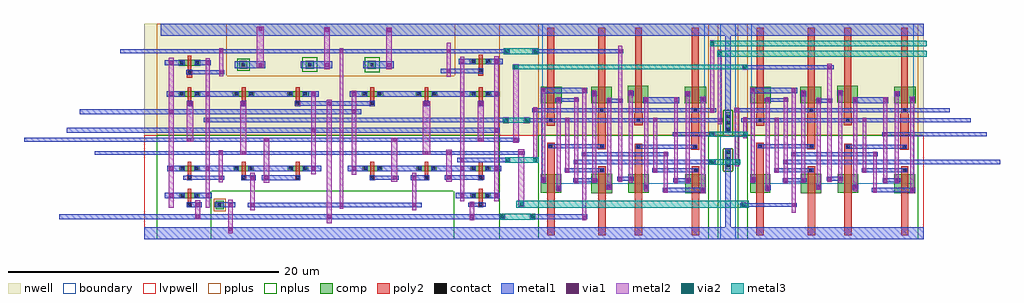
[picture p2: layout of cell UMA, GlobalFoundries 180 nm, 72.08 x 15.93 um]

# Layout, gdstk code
from math import pi, radians
import gdstk
lib = gdstk.Library(unit=1e-6, precision=1e-09)
def R(c, l, rs):  # rectangles x0, y0, x1, y1
    for r in rs: c.add(gdstk.rectangle(r[:2], r[2:], *l))
def A(c, l, x, y, w, h, nx, ny, dx, dy):  # array of equal rectangles
    R(c, l, [(x+i*dx, y+j*dy, x+i*dx+w, y+j*dy+h) for i in range(nx) for j in range(ny)])
def P(c, l, *ps):  # polygons
    for p in ps: c.add(gdstk.Polygon(p, *l))
boundary = (0, 0)
nwell = (21, 0)
comp = (22, 0)
poly2 = (30, 0)
pplus = (31, 0)
nplus = (32, 0)
contact = (33, 0)
metal1 = (34, 0)
via1 = (35, 0)
metal2 = (36, 0)
via2 = (38, 0)
metal3 = (42, 0)
lvpwell = (204, 0)

nfet_1 = lib.new_cell('nfet$1')
R(nfet_1, comp, [(-0.42,0,0,0.42), (0,0,0.66,0.42), (0.66,0,1.08,0.42)])
R(nfet_1, poly2, [(0.19,-0.3,0.47,0.72), (0.15,0.72,0.51,1.08)])
R(nfet_1, nplus, [(-0.59,-0.24,1.25,0.66)])
R(nfet_1, contact, [(-0.32,0.1,-0.1,0.32), (0.76,0.1,0.98,0.32), (0.22,0.79,0.44,1.01)])
R(nfet_1, metal1, [(-0.4,0.02,-0.02,0.4), (0.68,0.02,1.06,0.4), (0.14,0.71,0.52,1.09)])

pfet = lib.new_cell('pfet')
R(pfet, nwell, [(-0.9,-0.44,1.56,0.86)])
R(pfet, comp, [(-0.46,0,0,0.42), (0,0,0.66,0.42), (0.66,0,1.12,0.42)])
R(pfet, poly2, [(0.19,-0.3,0.47,0.72), (0.14,0.72,0.52,1.1)])
R(pfet, pplus, [(-0.63,-0.24,1.29,0.66)])
R(pfet, contact, [(-0.34,0.1,-0.12,0.32), (0.78,0.1,1,0.32), (0.22,0.8,0.44,1.02)])
R(pfet, metal1, [(-0.42,0.02,-0.04,0.4), (0.7,0.02,1.08,0.4), (0.14,0.72,0.52,1.1)])

uma = lib.new_cell('UMA')
R(uma, boundary, [(13.87,-2.005,14.99,13.92), (0.7,2.115,12.7,13.92), (16.16,2.115,28.16,13.92)])
R(uma, nwell, [(-28.675,5.695,-2.02,13.92), (-2.02,5.695,-0.04,13.92), (-0.04,5.695,13.44,13.92), (13.44,5.695,15.42,13.92), (15.42,5.695,28.9,13.92)])
R(uma, comp, [(-23.405,0.225,-22.805,0.825), (-23.405,0.225,-22.805,0.825), (4.325,1.41,5.865,2.825), (19.785,1.41,21.325,2.825), (11.26,1.415,12.795,2.8), (26.72,1.415,28.255,2.8), (0.605,1.435,2.1,2.805), (16.065,1.435,17.56,2.805), (7.075,1.44,8.57,2.805), (22.535,1.44,24.03,2.805), (-4.56,3.04,-4.24,3.42), (-3.45,3.04,-3.12,3.42), (14.25,3.17,14.61,4.6), (14.25,5.945,14.61,7.375), (11.23,8.03,12.82,9.265), (26.69,8.03,28.28,9.265), (0.605,8.035,2.135,9.27), (16.065,8.035,17.595,9.27), (4.32,8.045,5.85,9.28), (19.78,8.045,21.31,9.28), (7.04,8.085,8.555,9.32), (22.5,8.085,24.015,9.32), (-16.775,10.585,-16.175,11.185), (-21.67,10.59,-21.07,11.19), (-12.175,10.59,-11.575,11.19)])
R(uma, poly2, [(1.07,-1.69,1.62,5.13), (4.85,-1.69,5.4,3.395), (7.55,-1.69,8.1,5.045), (11.745,-1.69,12.295,3.39), (16.53,-1.69,17.08,5.13), (20.31,-1.69,20.86,3.395), (23.01,-1.69,23.56,5.045), (27.205,-1.69,27.755,3.39), (-25.53,9.945,-25.15,10.14), (-4.03,10.085,-3.65,10.24)])
P(uma, poly2, [(27.16,4.6),(27.16,7.265),(27.21,7.265),(27.21,13.625),(27.71,13.625),(27.71,7.265),(27.76,7.265),(27.76,4.6)],
  [(22.975,6.41),(22.975,7.315),(23.025,7.315),(23.025,13.625),(23.525,13.625),(23.525,7.315),(23.575,7.315),(23.575,6.41)],
  [(20.27,4.635),(20.27,7.275),(20.32,7.275),(20.32,13.625),(20.82,13.625),(20.82,7.275),(20.87,7.275),(20.87,4.635)],
  [(16.505,6.385),(16.505,7.26),(16.555,7.26),(16.555,13.625),(17.055,13.625),(17.055,7.26),(17.105,7.26),(17.105,6.385)],
  [(11.7,4.6),(11.7,7.265),(11.75,7.265),(11.75,13.625),(12.25,13.625),(12.25,7.265),(12.3,7.265),(12.3,4.6)],
  [(7.515,6.41),(7.515,7.315),(7.565,7.315),(7.565,13.625),(8.065,13.625),(8.065,7.315),(8.115,7.315),(8.115,6.41)],
  [(4.81,4.635),(4.81,7.275),(4.86,7.275),(4.86,13.625),(5.36,13.625),(5.36,7.275),(5.41,7.275),(5.41,4.635)],
  [(1.045,6.385),(1.045,7.26),(1.095,7.26),(1.095,13.625),(1.595,13.625),(1.595,7.26),(1.645,7.26),(1.645,6.385)],
  [(16.725,2.37),(16.725,2.37),(16.725,2.37),(16.725,2.37)],
  [(1.265,2.37),(1.265,2.37),(1.265,2.37),(1.265,2.37)])
R(uma, pplus, [(-23.56,0.08,-22.66,0.98), (14.09,3.01,14.77,4.68), (0.4,5.695,13,13.92), (15.86,5.695,28.46,13.92)])
P(uma, pplus, [(13.67,5.695),(13.67,13.92),(15.19,13.92),(15.19,5.695),(14.77,5.695),(14.77,7.535),(14.09,7.535),(14.09,5.695)],
  [(-27.77,5.695),(-27.77,13.92),(-22.585,13.92),(-22.585,10.08),(-5.765,10.08),(-5.765,13.92),(-2.44,13.92),(-2.44,5.695)])
R(uma, nplus, [(0.4,-2.005,13,5.695), (15.86,-2.005,28.46,5.695), (-12.415,10.32,-11.295,11.44), (-17.005,10.355,-15.925,11.445), (-21.815,10.44,-20.91,11.34)])
P(uma, nplus, [(13.67,-2.005),(13.67,4.68),(14.09,4.68),(14.09,3.01),(14.77,3.01),(14.77,4.68),(13.67,4.68),(13.67,5.695),(14.09,5.695),(14.09,7.535),(14.77,7.535),(14.77,5.695),(15.19,5.695),(15.19,-2.005)],
  [(-27.77,-2.005),(-27.77,5.695),(-2.44,5.695),(-2.44,-2.005),(-5.82,-2.005),(-5.82,1.53),(-23.735,1.53),(-23.735,-2.005)])
A(uma, contact, 14.32, 3.37, 0.22, 0.22, 1, 3, 0, 0.47)
A(uma, contact, 14.32, 6.015, 0.22, 0.22, 1, 3, 0, 0.47)
R(uma, contact, [(-23.25,0.44,-23.03,0.66), (-23.25,0.44,-23.03,0.66), (12.47,1.535,12.69,1.755), (27.93,1.535,28.15,1.755), (1.81,1.695,2.03,1.915), (17.27,1.695,17.49,1.915), (5.56,1.73,5.78,1.95), (8.265,1.73,8.485,1.95), (21.02,1.73,21.24,1.95), (23.725,1.73,23.945,1.95), (11.33,2.245,11.55,2.465), (26.79,2.245,27.01,2.465), (4.435,2.265,4.655,2.485), (19.895,2.265,20.115,2.485), (0.675,2.285,0.895,2.505), (16.135,2.285,16.355,2.505), (7.145,2.35,7.365,2.57), (22.605,2.35,22.825,2.57), (11.925,2.995,12.145,3.215), (27.385,2.995,27.605,3.215), (4.985,3,5.205,3.22), (20.445,3,20.665,3.22), (11.865,4.71,12.085,4.93), (27.325,4.71,27.545,4.93), (7.725,4.735,7.945,4.955), (23.185,4.735,23.405,4.955), (4.99,4.77,5.21,4.99), (20.45,4.77,20.67,4.99), (1.225,4.775,1.445,4.995), (16.685,4.775,16.905,4.995), (7.685,6.67,7.905,6.89), (23.145,6.67,23.365,6.89), (1.22,6.685,1.44,6.905), (16.68,6.685,16.9,6.905), (11.9,7.42,12.12,7.64), (27.36,7.42,27.58,7.64), (5.005,7.43,5.225,7.65), (20.465,7.43,20.685,7.65), (5.56,8.12,5.78,8.34), (21.02,8.12,21.24,8.34), (8.265,8.16,8.485,8.38), (23.725,8.16,23.945,8.38), (1.81,8.175,2.03,8.395), (17.27,8.175,17.49,8.395), (12.465,8.235,12.685,8.455), (27.925,8.235,28.145,8.455), (11.33,8.63,11.55,8.85), (26.79,8.63,27.01,8.85), (4.435,8.64,4.655,8.86), (19.895,8.64,20.115,8.86), (7.14,8.69,7.36,8.91), (22.6,8.69,22.82,8.91), (0.68,8.9,0.9,9.12), (16.14,8.9,16.36,9.12), (-21.47,10.765,-21.25,10.985), (-16.565,10.765,-16.345,10.985), (-11.975,10.765,-11.755,10.985)])
R(uma, metal1, [(-28.675,-2.005,-2.02,-1.105), (-0.225,-0.52,4.035,-0.165), (-34.97,-0.51,-2.02,-0.145), (-25.15,0.35,-24.44,0.73), (-21.045,0.355,-8.195,0.69), (-23.485,0.36,-21.965,0.72), (-23.485,0.36,-21.965,0.72), (-4.765,0.385,-3.455,0.685), (15.34,0.4,19.49,0.67), (-27.18,1.04,-26.07,1.42), (-24.61,1.04,-23.705,1.42), (-5.675,1.04,-4.57,1.42), (-3.11,1.04,-2.415,1.42), (9.6,1.485,12.78,1.805), (25.06,1.485,28.24,1.805), (1.735,1.61,2.115,1.99), (17.195,1.61,17.575,1.99), (8.19,1.64,8.57,2.02), (23.65,1.64,24.03,2.02), (5.48,1.65,5.86,2.03), (20.94,1.65,21.32,2.03), (10.38,2.195,11.69,2.515), (25.84,2.195,27.15,2.515), (0.6,2.21,0.98,2.59), (16.06,2.21,16.44,2.59), (3.005,2.225,4.785,2.515), (18.465,2.225,20.245,2.515), (6.26,2.315,7.45,2.6), (21.72,2.315,22.91,2.6), (-21.15,2.35,-20.44,2.73), (-8.985,2.35,-8.03,2.73), (-20.01,2.36,-17.145,2.725), (-25.795,2.385,-22.785,2.695), (-12.045,2.385,-9.9,2.705), (-6.495,2.39,-3.585,2.71), (8.85,2.945,12.22,3.245), (24.31,2.945,27.68,3.245), (2.385,2.96,5.305,3.26), (17.845,2.96,20.765,3.26), (-26.995,3.04,-26.07,3.42), (-24.61,3.04,-22.07,3.42), (-20.615,3.04,-17.955,3.42), (-16.62,3.04,-15.63,3.42), (-13.655,3.04,-12.19,3.42), (-11.49,3.04,-8.19,3.42), (-7.115,3.04,-4.57,3.42), (-3.115,3.04,-2.31,3.42), (3.035,3.545,13.515,3.88), (18.495,3.545,34.515,3.88), (-5.585,3.68,-1.64,4.015), (3.62,4.125,10.01,4.415), (19.08,4.125,25.47,4.415), (-32.345,4.245,-0.6,4.515), (7.66,4.675,12.16,4.985), (23.12,4.675,27.62,4.985), (1.155,4.725,5.285,5.025), (16.615,4.725,20.745,5.025), (10.365,5.62,13.495,5.895), (25.825,5.62,33.525,5.895), (-34.41,5.86,-2.445,6.25), (-24.305,6.625,-1.75,6.965), (-0.64,6.635,14.005,6.935), (15.42,6.635,32.365,6.935), (-33.44,7.215,-12.665,7.59), (-0.04,7.38,13.575,7.68), (14.885,7.38,30.805,7.68), (-17.58,7.86,-11.645,8.175), (8.18,8.05,10.81,8.505), (23.64,8.06,26.265,8.47), (5.47,8.09,6.67,8.38), (20.93,8.09,22.13,8.38), (1.68,8.14,3.42,8.43), (17.14,8.14,18.88,8.43), (12.39,8.155,12.77,8.535), (27.85,8.155,28.23,8.535), (-27.005,8.54,-26.09,8.92), (-24.62,8.54,-22.09,8.92), (-20.59,8.54,-18.045,8.92), (-16.97,8.54,-15.785,8.92), (-13.52,8.54,-12.59,8.92), (-11.1,8.54,-8.53,8.92), (-7.135,8.54,-4.59,8.92), (-4.56,8.54,-4.245,8.92), (-3.45,8.54,-3.12,8.92), (-3.09,8.54,-2.455,8.92), (11.255,8.555,11.635,8.935), (26.715,8.555,27.095,8.935), (4.355,8.565,4.735,8.945), (19.815,8.565,20.195,8.945), (7.07,8.605,7.45,8.985), (22.53,8.605,22.91,8.985), (16.07,8.765,19.525,9.205), (0.61,8.785,4.025,9.205), (-25.6,10.175,-22.765,10.48), (-6.785,10.275,-3.65,10.585), (15.48,10.56,22.22,10.86), (-22.015,10.625,-19.74,11.135), (-17.115,10.625,-14.815,11.135), (-12.52,10.625,-10.24,11.135), (-27.165,10.84,-26.09,11.22), (-24.64,10.84,-23.77,11.22), (-5.445,10.94,-4.59,11.32), (-4.56,10.94,-4.245,11.28), (-3.45,10.94,-3.12,11.285), (-3.09,10.94,-2.19,11.32), (-0.025,11.73,6.68,12.03), (-30.47,11.75,-1.695,12.035), (-27.455,13.02,-0.04,13.92), (-0.04,13.02,13.87,13.92), (14.99,13.02,28.9,13.92)])
P(uma, metal1, [(14.24,5.86),(14.24,13.02),(13.87,13.02),(13.87,13.92),(14.99,13.92),(14.99,13.02),(14.62,13.02),(14.62,5.86)],
  [(13.87,-2.005),(13.87,-1.105),(14.24,-1.105),(14.24,4.725),(14.62,4.725),(14.62,-1.105),(14.99,-1.105),(14.99,-2.005)],
  [(14.99,-2.005),(14.99,-1.1),(19.085,-1.1),(19.085,-1.11),(28.9,-1.11),(28.9,-2.005)],
  [(-2.02,-2.005),(-2.02,-1.1),(3.625,-1.1),(3.625,-1.11),(13.87,-1.11),(13.87,-2.005)],
  [(-37.565,5.185),(-37.565,5.505),(-10.005,5.505),(-10.005,5.495),(-1,5.495),(-1,5.185)],
  [(21,8.34),(21,8.34),(21.04,8.34),(21.04,8.34)],
  [(16.165,6.81),(16.165,6.81),(16.175,6.81),(16.175,6.81)],
  [(5.54,8.34),(5.54,8.34),(5.58,8.34),(5.58,8.34)],
  [(0.705,6.81),(0.705,6.81),(0.715,6.81),(0.715,6.81)])
R(uma, via1, [(-22.43,-1.415,-22.17,-1.155), (3.685,-0.515,3.945,-0.255), (-24.87,-0.46,-24.61,-0.2), (-4.625,-0.46,-4.365,-0.2), (-2.35,-0.46,-2.09,-0.2), (-0.15,-0.46,0.11,-0.2), (-15.18,-0.445,-14.92,-0.185), (-20.81,0.385,-20.55,0.645), (-8.875,0.385,-8.615,0.645), (-14.245,0.395,-13.985,0.655), (-24.87,0.405,-24.61,0.665), (-22.425,0.405,-22.165,0.665), (-22.425,0.405,-22.165,0.665), (-4.615,0.405,-4.355,0.665), (15.45,0.405,15.71,0.665), (19.145,0.405,19.405,0.665), (-26.81,1.095,-26.55,1.355), (-24.115,1.095,-23.855,1.355), (-2.82,1.095,-2.56,1.355), (-5.34,1.11,-5.08,1.37), (9.69,1.51,9.95,1.77), (12.45,1.51,12.71,1.77), (25.15,1.51,25.41,1.77), (27.91,1.51,28.17,1.77), (1.79,1.675,2.05,1.935), (17.25,1.675,17.51,1.935), (8.25,1.705,8.51,1.965), (23.71,1.705,23.97,1.965), (5.545,1.71,5.805,1.97), (21.005,1.71,21.265,1.97), (10.45,2.225,10.71,2.485), (11.31,2.225,11.57,2.485), (25.91,2.225,26.17,2.485), (26.77,2.225,27.03,2.485), (4.415,2.24,4.675,2.5), (19.875,2.24,20.135,2.5), (3.1,2.25,3.36,2.51), (18.56,2.25,18.82,2.51), (0.655,2.265,0.915,2.525), (16.115,2.265,16.375,2.525), (6.335,2.32,6.595,2.58), (21.795,2.32,22.055,2.58), (7.125,2.325,7.385,2.585), (22.585,2.325,22.845,2.585), (-20.805,2.4,-20.545,2.66), (-8.87,2.4,-8.61,2.66), (-19.8,2.415,-19.54,2.675), (-6.315,2.415,-6.055,2.675), (-23.165,2.42,-22.905,2.68), (-10.335,2.43,-10.075,2.69), (8.92,2.97,9.18,3.23), (24.38,2.97,24.64,3.23), (2.445,2.98,2.705,3.24), (17.905,2.98,18.165,3.24), (-26.81,3.095,-26.55,3.355), (-16.32,3.095,-16.06,3.355), (-24.13,3.1,-23.87,3.36), (-13.315,3.105,-13.055,3.365), (-5.33,3.105,-5.07,3.365), (-2.82,3.105,-2.56,3.365), (3.1,3.585,3.36,3.845), (18.56,3.585,18.82,3.845), (13.125,3.59,13.385,3.85), (-5.32,3.71,-5.06,3.97), (-1.98,3.725,-1.72,3.985), (9.69,4.135,9.95,4.395), (25.15,4.135,25.41,4.395), (3.685,4.14,3.945,4.4), (19.145,4.14,19.405,4.4), (-23.155,4.25,-22.895,4.51), (-6.325,4.25,-6.065,4.51), (-0.98,4.25,-0.72,4.51), (-21.48,4.255,-21.22,4.515), (-7.98,4.255,-7.72,4.515), (-19.77,5.205,-19.51,5.465), (-3.965,5.21,-3.705,5.47), (-25.475,5.215,-25.215,5.475), (-10.345,5.215,-10.085,5.475), (-1.35,5.215,-1.09,5.475), (10.45,5.62,10.71,5.88), (25.91,5.62,26.17,5.88), (13.125,5.625,13.385,5.885), (-2.81,5.885,-2.55,6.145), (-16.33,5.92,-16.07,6.18), (2.445,6.65,2.705,6.91), (13.685,6.65,13.945,6.91), (17.905,6.65,18.165,6.91), (-0.545,6.655,-0.285,6.915), (8.92,6.66,9.18,6.92), (24.38,6.66,24.64,6.92), (-2.085,6.665,-1.825,6.925), (15.545,6.665,15.805,6.925), (-24.105,6.67,-23.845,6.93), (-26.83,7.285,-26.57,7.545), (-13.345,7.295,-13.085,7.555), (0.065,7.4,0.325,7.66), (13.115,7.4,13.375,7.66), (14.95,7.4,15.21,7.66), (-15.14,7.89,-14.88,8.15), (-25.47,7.895,-25.21,8.155), (-21.475,7.895,-21.215,8.155), (-3.965,7.9,-3.705,8.16), (-7.975,7.905,-7.715,8.165), (5.545,8.105,5.805,8.365), (6.325,8.105,6.585,8.365), (21.005,8.105,21.265,8.365), (21.785,8.105,22.045,8.365), (10.45,8.14,10.71,8.4), (25.91,8.14,26.17,8.4), (8.24,8.145,8.5,8.405), (23.7,8.145,23.96,8.405), (1.79,8.155,2.05,8.415), (17.25,8.155,17.51,8.415), (3.1,8.16,3.36,8.42), (18.56,8.16,18.82,8.42), (12.44,8.215,12.7,8.475), (27.9,8.215,28.16,8.475), (-26.825,8.59,-26.565,8.85), (-16.32,8.6,-16.06,8.86), (-13.33,8.6,-13.07,8.86), (-2.805,8.6,-2.545,8.86), (-24.11,8.605,-23.85,8.865), (-5.335,8.605,-5.075,8.865), (11.31,8.61,11.57,8.87), (26.77,8.61,27.03,8.87), (4.415,8.62,4.675,8.88), (19.875,8.62,20.135,8.88), (7.12,8.665,7.38,8.925), (22.58,8.665,22.84,8.925), (3.68,8.86,3.94,9.12), (19.14,8.86,19.4,9.12), (0.665,8.875,0.925,9.135), (16.125,8.875,16.385,9.135), (-23.11,10.19,-22.85,10.45), (-6.33,10.3,-6.07,10.56), (21.79,10.58,22.05,10.84), (15.55,10.59,15.81,10.85), (-20.23,10.75,-19.97,11.01), (-15.33,10.75,-15.07,11.01), (-10.735,10.75,-10.475,11.01), (-26.83,10.9,-26.57,11.16), (-24.115,10.905,-23.855,11.165), (-2.805,11.005,-2.545,11.265), (-5.335,11.015,-5.075,11.275), (0.075,11.75,0.335,12.01), (6.345,11.75,6.605,12.01), (-6.33,11.76,-6.07,12.02), (-23.12,11.765,-22.86,12.025), (-14.245,11.765,-13.985,12.025), (-2.035,11.765,-1.775,12.025), (-10.735,13.305,-10.475,13.565), (-15.315,13.33,-15.055,13.59), (-20.235,13.41,-19.975,13.67)])
P(uma, via1, [(6.47,8.425),(6.47,8.425),(6.47,8.425),(6.47,8.425)],
  [(-21.315,1.675),(-21.315,1.675),(-21.315,1.675),(-21.315,1.675)],
  [(3.105,3.365),(3.105,3.365),(3.105,3.365),(3.105,3.365)],
  [(15.6,0.59),(15.6,0.595),(15.6,0.595),(15.6,0.59)],
  [(18.565,3.365),(18.565,3.365),(18.565,3.365),(18.565,3.365)])
R(uma, metal2, [(-22.475,-1.54,-22.13,0.92), (-15.205,-0.8,-14.835,8.3), (-4.66,-0.595,-4.325,0.755), (3.67,-0.595,3.96,9.185), (-0.2,-0.535,0.18,-0.155), (-2.395,-0.52,-2.015,-0.14), (-24.915,-0.51,-24.535,0.865), (19.13,-0.06,19.42,9.185), (-20.84,0.14,-20.515,2.905), (-8.905,0.14,-8.58,2.905), (-14.26,0.265,-13.97,12.1), (-24.145,0.31,-23.83,11.36), (-26.875,0.33,-26.52,11.415), (15.4,0.345,15.78,0.725), (-1.055,0.39,-0.63,4.665), (-5.36,0.795,-5.045,11.48), (-2.85,0.81,-2.52,11.505), (12.43,1.38,12.73,8.535), (27.89,1.38,28.19,8.535), (9.68,1.425,9.96,4.46), (25.14,1.425,25.42,4.46), (1.765,1.55,2.065,8.48), (8.23,1.55,8.53,8.49), (17.225,1.55,17.525,8.48), (23.69,1.55,23.99,8.49), (5.52,1.64,5.82,8.45), (20.98,1.64,21.28,8.45), (10.44,2.125,10.72,8.485), (11.29,2.125,11.59,8.945), (25.9,2.125,26.18,8.485), (26.75,2.125,27.05,8.945), (3.075,2.15,3.375,8.5), (18.535,2.15,18.835,8.5), (0.645,2.155,0.945,9.195), (16.105,2.155,16.405,9.195), (7.105,2.165,7.405,8.995), (22.565,2.165,22.865,8.995), (-19.855,2.175,-19.45,5.505), (4.39,2.18,4.685,9.005), (19.85,2.18,20.145,9.005), (-23.2,2.2,-22.885,4.57), (-10.46,2.23,-10.005,5.505), (-6.39,2.235,-5.975,4.625), (6.31,2.235,6.62,12.275), (21.77,2.235,22.08,10.97), (-13.365,2.76,-13.035,8.955), (8.91,2.895,9.19,6.985), (24.37,2.895,24.65,6.985), (2.42,2.91,2.72,6.97), (17.88,2.91,18.18,6.97), (14.925,3.395,15.24,7.72), (13.075,3.515,13.455,3.895), (0.03,3.64,0.34,7.76), (-2.035,3.665,-1.655,4.045), (-21.58,4.245,-21.16,8.21), (-8.1,4.245,-7.555,8.185), (-1.415,5.145,-1.03,10.93), (-25.55,5.185,-25.08,8.175), (-4.045,5.185,-3.61,8.195), (15.535,5.47,15.815,7), (13.075,5.57,13.455,5.95), (13.675,6.505,13.98,11.98), (-0.67,6.55,-0.25,7.01), (-2.17,6.555,-1.75,7.015), (13.1,7.335,13.395,12.705), (-6.355,9.995,-6.045,12.51), (-23.13,10.055,-22.84,12.115), (15.5,10.52,15.88,10.9), (-10.81,10.54,-10.4,13.635), (-15.39,10.565,-14.98,13.66), (-20.36,10.655,-19.86,13.705), (-2.105,11.695,-1.725,12.075), (0.025,11.695,0.405,12.075)])
P(uma, metal2, [(-16.35,2.805),(-16.35,8.935),(-16.04,8.935),(-16.04,8.905),(-16.035,8.905),(-16.035,2.805)],
  [(21.725,4.56),(21.725,4.56),(21.725,4.56),(21.725,4.56)],
  [(18.545,5.63),(18.545,5.63),(18.545,5.63),(18.545,5.63)],
  [(18.77,5.41),(18.77,5.41),(18.77,5.41),(18.77,5.41)],
  [(6.265,4.56),(6.265,4.56),(6.265,4.56),(6.265,4.56)],
  [(3.085,5.63),(3.085,5.63),(3.085,5.63),(3.085,5.63)],
  [(3.31,5.41),(3.31,5.41),(3.31,5.41),(3.31,5.41)])
R(uma, via2, [(-2.35,-0.46,-2.09,-0.2), (-0.15,-0.46,0.11,-0.2), (15.45,0.405,15.71,0.665), (-0.965,0.48,-0.705,0.74), (13.125,3.59,13.385,3.85), (14.95,3.595,15.21,3.855), (0.05,3.715,0.31,3.975), (-1.98,3.725,-1.72,3.985), (13.125,5.625,13.385,5.885), (15.545,5.645,15.805,5.905), (-0.545,6.655,-0.285,6.915), (-2.085,6.665,-1.825,6.925), (-1.365,10.585,-1.105,10.845), (15.55,10.59,15.81,10.85), (13.71,11.59,13.97,11.85), (0.075,11.75,0.335,12.01), (-2.035,11.765,-1.775,12.025), (13.115,12.325,13.375,12.585)])
P(uma, via2, [(-0.15,-0.232),(-0.15,-0.232),(-0.15,-0.232),(-0.15,-0.232)],
  [(0.105,12.01),(0.105,12.01),(0.105,12.01),(0.105,12.01)])
R(uma, metal3, [(-2.405,-0.575,0.19,-0.125), (-1.215,0.34,15.97,0.825), (13.03,3.495,15.315,3.92), (-2.035,3.655,0.445,4.055), (13.055,5.57,15.9,5.95), (-2.2,6.605,-0.175,6.99), (-1.47,10.54,15.9,10.88), (13.63,11.47,29.11,11.925), (-2.15,11.665,0.445,12.095), (13.1,12.25,29.12,12.66)])
R(uma, lvpwell, [(-28.675,-2.005,-2.02,5.695), (-2.02,-2.005,-0.04,5.695), (-0.04,-2.005,13.44,5.695), (13.44,-2.005,15.42,5.695), (15.42,-2.005,28.9,5.695)])
uma.add(gdstk.Reference(nfet_1, (-25.01,3.44), rotation=pi))
uma.add(gdstk.Reference(nfet_1, (-3.51,1.44), rotation=pi))
uma.add(gdstk.Reference(nfet_1, (-17.01,3.44), rotation=pi))
uma.add(gdstk.Reference(nfet_1, (-7.51,3.44), rotation=pi))
uma.add(gdstk.Reference(nfet_1, (-21.01,3.44), rotation=pi))
uma.add(gdstk.Reference(nfet_1, (-3.51,3.44), rotation=pi))
uma.add(gdstk.Reference(nfet_1, (-11.51,3.44), rotation=pi))
uma.add(gdstk.Reference(pfet, (-25.01,11.24), rotation=pi))
uma.add(gdstk.Reference(pfet, (-3.51,11.34), rotation=pi))
uma.add(gdstk.Reference(pfet, (-3.51,8.94), rotation=pi))
uma.add(gdstk.Reference(pfet, (-7.51,8.94), rotation=pi))
uma.add(gdstk.Reference(pfet, (-11.51,8.94), rotation=pi))
uma.add(gdstk.Reference(pfet, (-17.01,8.94), rotation=pi))
uma.add(gdstk.Reference(pfet, (-21.01,8.94), rotation=pi))
uma.add(gdstk.Reference(pfet, (-25.01,8.94), rotation=pi))
uma.add(gdstk.Reference(nfet_1, (-25.01,1.44), rotation=pi))

lib.write_gds('UMA.gds')
